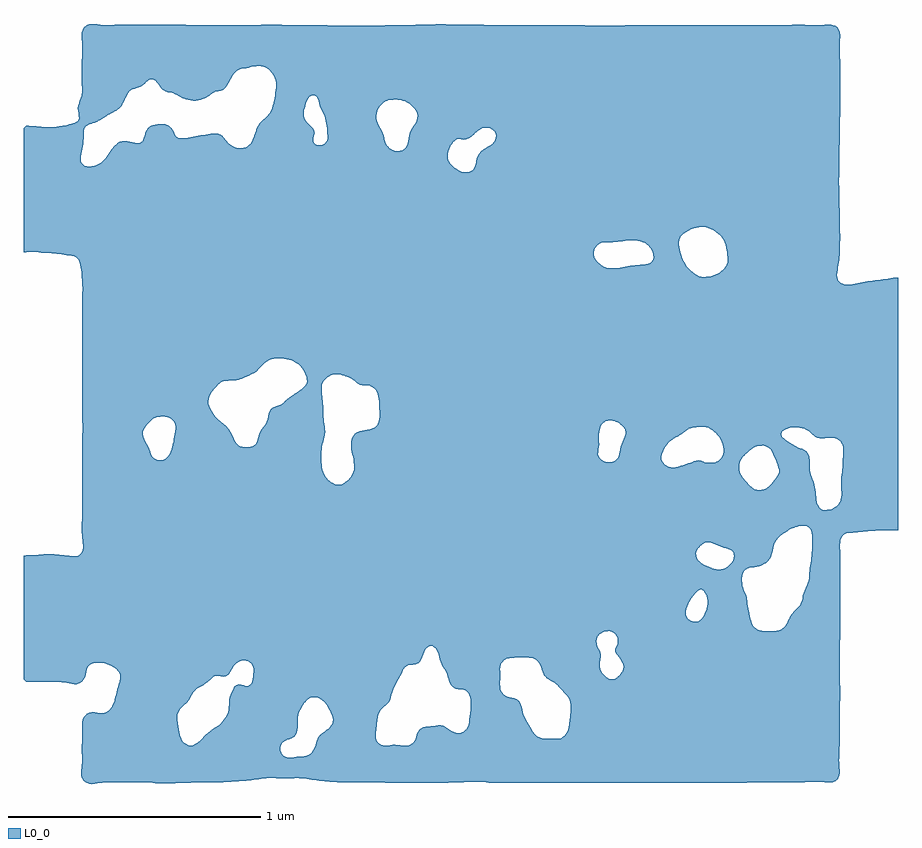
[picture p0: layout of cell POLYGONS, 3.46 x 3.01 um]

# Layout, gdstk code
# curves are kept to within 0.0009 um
import gdstk
lib = gdstk.Library(unit=1e-6, precision=1e-09)
def R(c, l, rs):  # rectangles x0, y0, x1, y1
    for r in rs: c.add(gdstk.rectangle(r[:2], r[2:], *l))
def P(c, l, *ps):  # polygons
    for p in ps: c.add(gdstk.Polygon(p, *l))
L0_0 = (0, 0)

polygons = lib.new_cell('POLYGONS')
R(polygons, L0_0, [(-1.43,-1.36,-1.2,-1.24), (-1.499,-0.94,-1.43,-0.83), (-1.43,-0.94,-1.2,-0.83), (-1.2,-0.94,-0.987,-0.83), (-0.987,-0.94,-0.811,-0.83), (-0.811,-0.94,-0.611,-0.83), (-0.611,-0.94,-0.49,-0.83), (-0.49,-0.94,-0.269,-0.83), (-0.269,-0.94,-0.01,-0.83), (-0.01,-0.94,0.286,-0.83), (-1.499,-0.83,-1.43,-0.7), (-1.43,-0.83,-1.2,-0.7), (-1.2,-0.83,-0.987,-0.7), (-0.987,-0.83,-0.811,-0.7), (-0.811,-0.83,-0.611,-0.7), (-0.611,-0.83,-0.49,-0.7), (-0.49,-0.83,-0.269,-0.7), (-0.269,-0.83,-0.01,-0.7), (-0.01,-0.83,0.286,-0.7), (0.286,-0.83,0.57,-0.7), (0.57,-0.83,0.82,-0.7), (-1.499,-0.7,-1.43,-0.59), (-1.43,-0.7,-1.2,-0.59), (-1.2,-0.7,-0.987,-0.59), (-0.987,-0.7,-0.811,-0.59), (-0.811,-0.7,-0.611,-0.59), (-0.611,-0.7,-0.49,-0.59), (-0.49,-0.7,-0.269,-0.59), (-0.269,-0.7,-0.01,-0.59), (-0.01,-0.7,0.286,-0.59), (0.286,-0.7,0.57,-0.59), (0.57,-0.7,0.82,-0.59), (-0.987,-0.59,-0.811,-0.21), (-0.811,-0.59,-0.611,-0.21), (-0.269,-0.59,-0.01,-0.2), (-0.01,-0.59,0.286,-0.2), (-0.269,-0.2,-0.01,0.6), (-0.01,-0.2,0.286,0.6), (-1.43,0.01,-1.2,0.6), (-1.2,0.6,-0.987,0.98), (-0.987,0.6,-0.811,0.98), (-0.811,0.6,-0.611,0.98), (-0.611,0.6,-0.49,0.98), (-0.49,0.6,-0.269,0.98)])
P(polygons, L0_0, [(-1.499,1.473),(-1.5,1.47),(-1.5,1.468),(-1.501,1.46),(-1.501,1.45),(-1.5,1.444),(-1.5,1.44),(-1.499,1.435)],
  [(-1.499,1.374),(-1.499,1.37),(-1.5,1.36),(-1.5,1.26),(-1.499,1.253)],
  [(-1.72,0.599),(-1.69,0.6),(-1.63,0.597),(-1.57,0.591),(-1.54,0.587),(-1.53,0.584),(-1.52,0.578),(-1.513,0.57),(-1.51,0.563),(-1.502,0.53),(-1.499,0.492),(-1.499,0.95),(-1.504,0.96),(-1.505,0.97),(-1.503,0.99),(-1.499,1.007),(-1.499,1.232),(-1.501,1.22),(-1.51,1.194),(-1.516,1.17),(-1.511,1.13),(-1.515,1.12),(-1.52,1.116),(-1.53,1.111),(-1.54,1.108),(-1.56,1.103),(-1.6,1.096),(-1.64,1.094),(-1.69,1.099),(-1.72,1.1),(-1.73,1.09),(-1.73,0.6)],
  [(-1.499,-0.453),(-1.499,-0.46),(-1.5,-0.47),(-1.5,-0.477),(-1.5,-0.48),(-1.501,-0.49),(-1.5,-0.5),(-1.5,-0.507),(-1.5,-0.51),(-1.499,-0.518)],
  [(-1.515,-0.6),(-1.52,-0.602),(-1.53,-0.603),(-1.63,-0.594),(-1.69,-0.599),(-1.73,-0.6),(-1.73,-1.09),(-1.72,-1.1),(-1.6,-1.099),(-1.56,-1.103),(-1.53,-1.109),(-1.52,-1.109),(-1.51,-1.106),(-1.499,-1.098),(-1.499,-0.586),(-1.501,-0.59),(-1.51,-0.598)],
  [(-1.5,-1.371),(-1.5,-1.38),(-1.499,-1.39),(-1.499,-1.4),(-1.499,-1.401),(-1.499,-1.341),(-1.5,-1.35),(-1.5,-1.357),(-1.5,-1.36),(-1.5,-1.37)],
  [(-1.499,-1.417),(-1.499,-1.42),(-1.5,-1.43),(-1.5,-1.431),(-1.501,-1.44),(-1.503,-1.45),(-1.503,-1.46),(-1.502,-1.47),(-1.5,-1.479),(-1.5,-1.48),(-1.499,-1.481)],
  [(-1.498,1.01),(-1.496,1.02),(-1.493,1.05),(-1.493,1.07),(-1.49,1.09),(-1.482,1.1),(-1.47,1.106),(-1.44,1.117),(-1.43,1.123),(-1.43,1.5),(-1.44,1.502),(-1.46,1.503),(-1.47,1.502),(-1.48,1.499),(-1.491,1.49),(-1.497,1.48),(-1.499,1.473),(-1.498,1.42),(-1.499,1.38),(-1.499,1.007)],
  [(-1.43,0.951),(-1.45,0.942),(-1.47,0.939),(-1.482,0.94),(-1.49,0.943),(-1.499,0.95),(-1.499,0.6),(-1.43,0.6)],
  [(-1.498,-0.01),(-1.497,-0.11),(-1.499,-0.23),(-1.498,-0.31),(-1.499,-0.52),(-1.495,-0.57),(-1.499,-0.59),(-1.43,-0.59),(-1.43,0.6),(-1.499,0.6),(-1.499,0.49),(-1.497,0.46),(-1.499,0.4)],
  [(-1.492,-1.09),(-1.487,-1.08),(-1.48,-1.049),(-1.476,-1.04),(-1.47,-1.034),(-1.46,-1.028),(-1.45,-1.025),(-1.43,-1.024),(-1.43,-0.94),(-1.499,-0.94),(-1.499,-1.098)],
  [(-1.498,-1.26),(-1.499,-1.36),(-1.43,-1.36),(-1.43,-1.225),(-1.45,-1.22),(-1.46,-1.22),(-1.47,-1.222),(-1.48,-1.227),(-1.492,-1.24),(-1.496,-1.25)],
  [(-1.45,-1.503),(-1.43,-1.5),(-1.43,-1.36),(-1.499,-1.36),(-1.499,-1.481),(-1.494,-1.49),(-1.49,-1.494),(-1.48,-1.5),(-1.47,-1.503),(-1.46,-1.504)],
  [(-1.42,1.129),(-1.36,1.163),(-1.352,1.17),(-1.343,1.18),(-1.32,1.226),(-1.307,1.24),(-1.3,1.244),(-1.27,1.254),(-1.26,1.26),(-1.24,1.279),(-1.23,1.285),(-1.22,1.285),(-1.21,1.28),(-1.2,1.269),(-1.2,1.5),(-1.37,1.5),(-1.38,1.499),(-1.43,1.5),(-1.43,1.123)],
  [(-1.41,0.968),(-1.42,0.958),(-1.43,0.951),(-1.43,0.6),(-1.2,0.6),(-1.2,1.107),(-1.22,1.103),(-1.23,1.098),(-1.24,1.089),(-1.246,1.08),(-1.25,1.07),(-1.255,1.05),(-1.26,1.04),(-1.27,1.033),(-1.28,1.032),(-1.32,1.039),(-1.34,1.04),(-1.35,1.037),(-1.36,1.031),(-1.37,1.022)],
  [(-1.259,-0.11),(-1.249,-0.09),(-1.232,-0.07),(-1.22,-0.059),(-1.21,-0.054),(-1.2,-0.051),(-1.2,0.01),(-1.43,0.01),(-1.43,-0.12),(-1.26,-0.12)],
  [(-1.2,-0.223),(-1.21,-0.219),(-1.222,-0.21),(-1.227,-0.2),(-1.233,-0.18),(-1.254,-0.14),(-1.258,-0.13),(-1.26,-0.12),(-1.43,-0.12),(-1.43,-0.59),(-1.2,-0.59)],
  [(-1.2,-0.94),(-1.43,-0.94),(-1.43,-1.024),(-1.42,-1.025),(-1.399,-1.03),(-1.377,-1.04),(-1.363,-1.05),(-1.354,-1.06),(-1.349,-1.07),(-1.348,-1.08),(-1.351,-1.1),(-1.361,-1.13),(-1.369,-1.17),(-1.372,-1.18),(-1.382,-1.2),(-1.39,-1.21),(-1.4,-1.218),(-1.41,-1.223),(-1.42,-1.225),(-1.43,-1.225),(-1.43,-1.24),(-1.2,-1.24)],
  [(-1.42,-1.5),(-1.38,-1.499),(-1.2,-1.501),(-1.2,-1.36),(-1.43,-1.36),(-1.43,-1.5)],
  [(-1.05,1.2),(-1.02,1.207),(-0.996,1.22),(-0.987,1.227),(-0.987,1.499),(-1.2,1.5),(-1.2,1.269),(-1.18,1.242),(-1.17,1.236),(-1.16,1.233),(-1.14,1.23),(-1.09,1.206),(-1.07,1.201)],
  [(-0.987,1.068),(-1.03,1.062),(-1.08,1.052),(-1.11,1.05),(-1.12,1.052),(-1.13,1.06),(-1.145,1.09),(-1.156,1.1),(-1.17,1.106),(-1.2,1.107),(-1.2,0.98),(-0.987,0.98)],
  [(-0.999,0.02),(-0.996,0.03),(-0.991,0.04),(-0.987,0.047),(-0.987,0.6),(-1.2,0.6),(-1.2,0.01),(-1,0.01)],
  [(-1.19,-0.05),(-1.18,-0.049),(-1.16,-0.052),(-1.14,-0.064),(-1.135,-0.07),(-1.13,-0.08),(-1.129,-0.1),(-1.137,-0.15),(-1.148,-0.19),(-1.153,-0.2),(-1.16,-0.21),(-1.172,-0.22),(-1.18,-0.223),(-1.19,-0.224),(-1.2,-0.223),(-1.2,-0.59),(-0.987,-0.59),(-0.987,-0.03),(-0.997,-0.01),(-1,0),(-1,0.01),(-1.2,0.01),(-1.2,-0.051)],
  [(-1.122,-1.23),(-1.118,-1.22),(-1.11,-1.207),(-1.076,-1.17),(-1.066,-1.15),(-1.059,-1.14),(-1.049,-1.13),(-1.01,-1.106),(-0.987,-1.086),(-0.987,-0.94),(-1.2,-0.94),(-1.2,-1.24),(-1.123,-1.24)],
  [(-0.987,-1.291),(-1.01,-1.31),(-1.03,-1.331),(-1.041,-1.34),(-1.06,-1.35),(-1.07,-1.352),(-1.08,-1.35),(-1.09,-1.345),(-1.1,-1.336),(-1.11,-1.318),(-1.117,-1.29),(-1.123,-1.25),(-1.123,-1.24),(-1.2,-1.24),(-1.2,-1.36),(-0.987,-1.36)],
  [(-1.15,-1.501),(-0.987,-1.497),(-0.987,-1.36),(-1.2,-1.36),(-1.2,-1.501)],
  [(-0.982,1.23),(-0.97,1.236),(-0.96,1.236),(-0.95,1.238),(-0.94,1.243),(-0.932,1.25),(-0.92,1.268),(-0.91,1.29),(-0.9,1.306),(-0.89,1.316),(-0.884,1.32),(-0.87,1.326),(-0.85,1.328),(-0.811,1.336),(-0.811,1.499),(-0.92,1.499),(-0.93,1.498),(-0.987,1.499),(-0.987,1.227)],
  [(-0.811,1.08),(-0.821,1.05),(-0.832,1.03),(-0.85,1.016),(-0.87,1.011),(-0.88,1.011),(-0.89,1.013),(-0.9,1.017),(-0.918,1.03),(-0.94,1.055),(-0.95,1.064),(-0.96,1.068),(-0.987,1.068),(-0.987,0.98),(-0.811,0.98)],
  [(-0.985,0.05),(-0.96,0.078),(-0.94,0.09),(-0.93,0.092),(-0.9,0.093),(-0.88,0.096),(-0.87,0.099),(-0.84,0.112),(-0.82,0.122),(-0.811,0.128),(-0.811,0.6),(-0.987,0.6),(-0.987,0.047)],
  [(-0.811,-0.158),(-0.82,-0.166),(-0.83,-0.17),(-0.86,-0.171),(-0.87,-0.169),(-0.88,-0.165),(-0.89,-0.156),(-0.894,-0.15),(-0.907,-0.12),(-0.918,-0.1),(-0.93,-0.087),(-0.972,-0.05),(-0.987,-0.03),(-0.987,-0.21),(-0.811,-0.21)],
  [(-0.811,-0.94),(-0.987,-0.94),(-0.987,-1.086),(-0.98,-1.08),(-0.97,-1.076),(-0.96,-1.076),(-0.94,-1.079),(-0.93,-1.077),(-0.919,-1.07),(-0.902,-1.04),(-0.894,-1.03),(-0.88,-1.02),(-0.87,-1.016),(-0.86,-1.015),(-0.85,-1.016),(-0.84,-1.019),(-0.827,-1.03),(-0.822,-1.04),(-0.82,-1.05),(-0.821,-1.08),(-0.826,-1.1),(-0.832,-1.11),(-0.84,-1.116),(-0.85,-1.117),(-0.87,-1.111),(-0.88,-1.11),(-0.89,-1.113),(-0.9,-1.125),(-0.907,-1.14),(-0.914,-1.16),(-0.916,-1.17),(-0.92,-1.22),(-0.924,-1.23),(-0.93,-1.24),(-0.955,-1.27),(-0.987,-1.291),(-0.987,-1.36),(-0.811,-1.36)],
  [(-0.98,-1.497),(-0.92,-1.496),(-0.85,-1.491),(-0.811,-1.486),(-0.811,-1.36),(-0.987,-1.36),(-0.987,-1.497)],
  [(-0.764,1.14),(-0.787,1.12),(-0.796,1.11),(-0.803,1.1),(-0.81,1.084),(-0.811,1.08),(-0.811,0.98),(-0.611,0.98),(-0.611,1.115),(-0.62,1.13),(-0.623,1.14),(-0.622,1.16),(-0.617,1.18),(-0.611,1.197),(-0.611,1.499),(-0.71,1.5),(-0.811,1.499),(-0.811,1.336),(-0.8,1.337),(-0.78,1.334),(-0.77,1.33),(-0.76,1.323),(-0.75,1.313),(-0.741,1.3),(-0.736,1.29),(-0.731,1.27),(-0.73,1.26),(-0.732,1.24),(-0.741,1.19),(-0.75,1.162),(-0.756,1.15)],
  [(-0.611,0.6),(-0.811,0.6),(-0.811,0.128),(-0.77,0.167),(-0.76,0.173),(-0.74,0.179),(-0.72,0.181),(-0.709,0.18),(-0.68,0.175),(-0.67,0.172),(-0.648,0.16),(-0.64,0.154),(-0.63,0.143),(-0.621,0.13),(-0.611,0.106)],
  [(-0.611,0.08),(-0.618,0.07),(-0.629,0.06),(-0.64,0.051),(-0.686,0.02),(-0.71,-0.001),(-0.74,-0.014),(-0.75,-0.02),(-0.76,-0.04),(-0.768,-0.07),(-0.773,-0.08),(-0.795,-0.11),(-0.799,-0.12),(-0.807,-0.15),(-0.811,-0.158),(-0.811,-0.21),(-0.611,-0.21)],
  [(-0.714,-1.35),(-0.707,-1.34),(-0.7,-1.334),(-0.69,-1.329),(-0.663,-1.32),(-0.654,-1.31),(-0.65,-1.3),(-0.646,-1.28),(-0.646,-1.25),(-0.644,-1.23),(-0.641,-1.22),(-0.625,-1.19),(-0.611,-1.173),(-0.611,-0.94),(-0.811,-0.94),(-0.811,-1.36),(-0.716,-1.36)],
  [(-0.81,-1.486),(-0.76,-1.48),(-0.71,-1.482),(-0.68,-1.482),(-0.65,-1.48),(-0.611,-1.483),(-0.611,-1.392),(-0.63,-1.396),(-0.68,-1.4),(-0.69,-1.398),(-0.7,-1.394),(-0.705,-1.39),(-0.71,-1.384),(-0.716,-1.37),(-0.716,-1.36),(-0.811,-1.36),(-0.811,-1.486)],
  [(-0.537,1.13),(-0.53,1.09),(-0.528,1.05),(-0.532,1.04),(-0.539,1.03),(-0.55,1.024),(-0.56,1.023),(-0.57,1.024),(-0.58,1.032),(-0.584,1.04),(-0.585,1.05),(-0.579,1.07),(-0.58,1.08),(-0.59,1.095),(-0.611,1.115),(-0.611,0.98),(-0.49,0.98),(-0.49,1.497),(-0.611,1.499),(-0.611,1.197),(-0.6,1.215),(-0.59,1.221),(-0.58,1.222),(-0.57,1.216),(-0.563,1.2),(-0.558,1.18),(-0.54,1.14)],
  [(-0.553,-0.2),(-0.55,-0.17),(-0.543,-0.14),(-0.538,-0.11),(-0.546,-0.04),(-0.546,-0.01),(-0.551,0.05),(-0.551,0.07),(-0.549,0.08),(-0.545,0.09),(-0.53,0.105),(-0.51,0.115),(-0.5,0.118),(-0.49,0.118),(-0.49,0.6),(-0.611,0.6),(-0.611,0.106),(-0.608,0.09),(-0.611,0.08),(-0.611,-0.21),(-0.553,-0.21)],
  [(-0.49,-0.32),(-0.5,-0.318),(-0.515,-0.31),(-0.53,-0.297),(-0.54,-0.282),(-0.545,-0.27),(-0.55,-0.25),(-0.553,-0.21),(-0.611,-0.21),(-0.611,-0.59),(-0.49,-0.59)],
  [(-0.564,-1.32),(-0.569,-1.33),(-0.58,-1.363),(-0.59,-1.38),(-0.6,-1.388),(-0.611,-1.392),(-0.611,-1.483),(-0.56,-1.491),(-0.49,-1.497),(-0.49,-0.94),(-0.611,-0.94),(-0.611,-1.173),(-0.6,-1.164),(-0.583,-1.16),(-0.57,-1.161),(-0.56,-1.164),(-0.55,-1.17),(-0.54,-1.18),(-0.526,-1.2),(-0.511,-1.23),(-0.506,-1.25),(-0.507,-1.26),(-0.51,-1.268),(-0.519,-1.28),(-0.556,-1.31)],
  [(-0.334,1.15),(-0.327,1.17),(-0.32,1.18),(-0.31,1.19),(-0.3,1.197),(-0.29,1.201),(-0.269,1.204),(-0.269,1.498),(-0.49,1.497),(-0.49,1.14),(-0.336,1.14)],
  [(-0.269,1.003),(-0.282,1.01),(-0.291,1.02),(-0.297,1.03),(-0.301,1.04),(-0.309,1.07),(-0.325,1.1),(-0.333,1.12),(-0.336,1.14),(-0.49,1.14),(-0.49,0.98),(-0.269,0.98)],
  [(-0.425,-0.22),(-0.422,-0.25),(-0.423,-0.26),(-0.43,-0.28),(-0.445,-0.3),(-0.46,-0.313),(-0.47,-0.318),(-0.48,-0.32),(-0.49,-0.32),(-0.49,-0.59),(-0.269,-0.59),(-0.269,0.6),(-0.49,0.6),(-0.49,0.118),(-0.48,0.117),(-0.45,0.108),(-0.433,0.1),(-0.42,0.091),(-0.41,0.082),(-0.4,0.076),(-0.39,0.073),(-0.37,0.073),(-0.36,0.071),(-0.35,0.066),(-0.34,0.058),(-0.334,0.05),(-0.329,0.04),(-0.324,0.01),(-0.322,-0.05),(-0.325,-0.07),(-0.33,-0.082),(-0.337,-0.09),(-0.357,-0.1),(-0.4,-0.108),(-0.41,-0.112),(-0.421,-0.12),(-0.43,-0.134),(-0.434,-0.15),(-0.435,-0.17),(-0.434,-0.18)],
  [(-0.337,-1.3),(-0.33,-1.238),(-0.328,-1.23),(-0.324,-1.22),(-0.317,-1.21),(-0.286,-1.18),(-0.28,-1.17),(-0.273,-1.14),(-0.269,-1.13),(-0.269,-0.94),(-0.49,-0.94),(-0.49,-1.31),(-0.337,-1.31)],
  [(-0.269,-1.349),(-0.29,-1.352),(-0.3,-1.352),(-0.31,-1.351),(-0.32,-1.347),(-0.329,-1.34),(-0.335,-1.33),(-0.337,-1.32),(-0.337,-1.31),(-0.49,-1.31),(-0.49,-1.497),(-0.269,-1.499)],
  [(-0.052,0.99),(-0.05,1),(-0.042,1.02),(-0.03,1.037),(-0.02,1.045),(-0.01,1.048),(-0.01,1.501),(-0.1,1.502),(-0.269,1.498),(-0.269,1.204),(-0.26,1.205),(-0.24,1.203),(-0.22,1.197),(-0.21,1.192),(-0.194,1.18),(-0.185,1.17),(-0.178,1.16),(-0.174,1.15),(-0.172,1.14),(-0.175,1.12),(-0.193,1.09),(-0.203,1.07),(-0.21,1.03),(-0.214,1.02),(-0.22,1.012),(-0.23,1.004),(-0.248,1),(-0.26,1),(-0.269,1.003),(-0.269,0.98),(-0.053,0.98)],
  [(-0.01,0.924),(-0.03,0.938),(-0.042,0.95),(-0.049,0.96),(-0.052,0.97),(-0.053,0.98),(-0.269,0.98),(-0.269,0.6),(-0.01,0.6)],
  [(-0.033,-1.12),(-0.02,-1.127),(-0.01,-1.129),(-0.01,-0.94),(-0.269,-0.94),(-0.269,-1.13),(-0.265,-1.12),(-0.242,-1.08),(-0.228,-1.05),(-0.219,-1.04),(-0.21,-1.035),(-0.179,-1.03),(-0.17,-1.026),(-0.157,-1.01),(-0.146,-0.98),(-0.14,-0.968),(-0.13,-0.96),(-0.12,-0.957),(-0.11,-0.959),(-0.1,-0.967),(-0.092,-0.98),(-0.08,-1.023),(-0.072,-1.04),(-0.059,-1.06),(-0.046,-1.1),(-0.04,-1.112)],
  [(-0.19,-1.499),(-0.01,-1.498),(-0.01,-1.304),(-0.02,-1.302),(-0.03,-1.298),(-0.07,-1.274),(-0.08,-1.271),(-0.09,-1.271),(-0.11,-1.275),(-0.14,-1.278),(-0.15,-1.28),(-0.16,-1.285),(-0.165,-1.29),(-0.171,-1.3),(-0.182,-1.33),(-0.188,-1.34),(-0.2,-1.349),(-0.21,-1.352),(-0.22,-1.353),(-0.269,-1.349),(-0.269,-1.499)],
  [(0.286,1.499),(0.1,1.499),(0.04,1.501),(-0.01,1.501),(-0.01,1.048),(0.01,1.046),(0.02,1.047),(0.028,1.05),(0.04,1.057),(0.066,1.08),(0.08,1.089),(0.09,1.092),(0.1,1.093),(0.116,1.09),(0.13,1.081),(0.137,1.07),(0.139,1.06),(0.138,1.05),(0.133,1.04),(0.125,1.03),(0.08,1),(0.072,0.99),(0.066,0.98),(0.056,0.94),(0.05,0.929),(0.039,0.92),(0.03,0.917),(0.02,0.916),(0,0.919),(-0.01,0.924),(-0.01,0.6),(0.286,0.6)],
  [(0.154,-1.1),(0.155,-1.04),(0.158,-1.03),(0.17,-1.015),(0.18,-1.009),(0.19,-1.006),(0.22,-1.003),(0.25,-1.002),(0.28,-1.005),(0.286,-1.007),(0.286,-0.94),(-0.01,-0.94),(-0.01,-1.11),(0.154,-1.11)],
  [(0.01,-1.498),(0.286,-1.5),(0.286,-1.3),(0.279,-1.29),(0.247,-1.23),(0.237,-1.19),(0.23,-1.177),(0.22,-1.169),(0.2,-1.162),(0.188,-1.16),(0.17,-1.151),(0.16,-1.139),(0.156,-1.13),(0.154,-1.11),(-0.01,-1.11),(-0.01,-1.129),(0,-1.129),(0.01,-1.131),(0.02,-1.135),(0.03,-1.145),(0.037,-1.16),(0.039,-1.18),(0.039,-1.2),(0.03,-1.27),(0.026,-1.28),(0.02,-1.289),(0.01,-1.298),(0,-1.302),(-0.01,-1.304),(-0.01,-1.498)],
  [(0.528,0.61),(0.533,0.62),(0.542,0.63),(0.56,0.639),(0.57,0.64),(0.57,1.497),(0.5,1.497),(0.43,1.499),(0.286,1.499),(0.286,0.6),(0.525,0.6)],
  [(0.543,-0.19),(0.547,-0.16),(0.546,-0.12),(0.548,-0.1),(0.551,-0.09),(0.557,-0.08),(0.57,-0.069),(0.57,0.54),(0.552,0.55),(0.541,0.56),(0.528,0.58),(0.525,0.6),(0.286,0.6),(0.286,-0.2),(0.542,-0.2)],
  [(0.57,-0.229),(0.56,-0.225),(0.552,-0.22),(0.55,-0.218),(0.545,-0.21),(0.542,-0.2),(0.286,-0.2),(0.286,-0.59),(0.57,-0.59)],
  [(0.538,-0.93),(0.54,-0.923),(0.542,-0.92),(0.549,-0.91),(0.55,-0.909),(0.56,-0.903),(0.57,-0.9),(0.57,-0.83),(0.286,-0.83),(0.286,-0.94),(0.536,-0.94)],
  [(0.39,-1.5),(0.57,-1.499),(0.57,-1.078),(0.56,-1.067),(0.55,-1.05),(0.548,-1.04),(0.548,-1.03),(0.551,-1.01),(0.552,-0.99),(0.55,-0.98),(0.54,-0.96),(0.537,-0.95),(0.536,-0.94),(0.286,-0.94),(0.286,-1.007),(0.3,-1.014),(0.31,-1.026),(0.317,-1.04),(0.323,-1.06),(0.33,-1.075),(0.34,-1.085),(0.36,-1.097),(0.38,-1.112),(0.416,-1.15),(0.43,-1.17),(0.435,-1.19),(0.435,-1.21),(0.431,-1.25),(0.424,-1.29),(0.42,-1.3),(0.41,-1.314),(0.4,-1.321),(0.39,-1.324),(0.34,-1.325),(0.32,-1.323),(0.31,-1.32),(0.3,-1.315),(0.29,-1.306),(0.286,-1.3),(0.286,-1.5)],
  [(0.737,0.63),(0.747,0.62),(0.754,0.61),(0.761,0.59),(0.762,0.58),(0.76,0.57),(0.75,0.558),(0.74,0.554),(0.72,0.55),(0.69,0.549),(0.63,0.538),(0.61,0.536),(0.59,0.536),(0.58,0.537),(0.57,0.54),(0.57,-0.069),(0.58,-0.066),(0.59,-0.065),(0.6,-0.066),(0.62,-0.073),(0.63,-0.079),(0.642,-0.09),(0.649,-0.1),(0.652,-0.11),(0.651,-0.12),(0.639,-0.15),(0.633,-0.17),(0.624,-0.21),(0.62,-0.216),(0.617,-0.22),(0.61,-0.225),(0.597,-0.23),(0.58,-0.231),(0.57,-0.229),(0.57,-0.59),(0.82,-0.59),(0.82,-0.248),(0.81,-0.243),(0.8,-0.233),(0.793,-0.22),(0.792,-0.21),(0.794,-0.2),(0.798,-0.19),(0.81,-0.168),(0.82,-0.154),(0.82,1.499),(0.57,1.497),(0.57,0.64),(0.601,0.64),(0.67,0.648),(0.69,0.648),(0.71,0.644),(0.721,0.64)],
  [(0.58,-0.899),(0.59,-0.9),(0.6,-0.903),(0.61,-0.909),(0.617,-0.92),(0.62,-0.928),(0.621,-0.94),(0.62,-0.95),(0.61,-0.97),(0.61,-0.98),(0.616,-0.99),(0.632,-1.01),(0.64,-1.027),(0.643,-1.04),(0.64,-1.056),(0.631,-1.07),(0.62,-1.081),(0.61,-1.087),(0.6,-1.089),(0.59,-1.089),(0.58,-1.085),(0.57,-1.078),(0.57,-1.499),(0.82,-1.5),(0.82,-0.83),(0.57,-0.83),(0.57,-0.9)],
  [(0.863,0.65),(0.868,0.66),(0.876,0.67),(0.89,0.68),(0.92,0.694),(0.94,0.699),(0.96,0.7),(0.97,0.698),(0.99,0.691),(0.99,1.498),(0.82,1.499),(0.82,0.64),(0.861,0.64)],
  [(0.824,-0.15),(0.84,-0.138),(0.86,-0.128),(0.872,-0.12),(0.9,-0.099),(0.92,-0.093),(0.94,-0.091),(0.96,-0.091),(0.97,-0.092),(0.98,-0.095),(0.99,-0.1),(0.99,0.505),(0.96,0.501),(0.95,0.502),(0.94,0.505),(0.92,0.517),(0.896,0.54),(0.883,0.56),(0.874,0.58),(0.865,0.61),(0.861,0.63),(0.861,0.64),(0.82,0.64),(0.82,-0.154)],
  [(0.84,-0.252),(0.83,-0.251),(0.82,-0.248),(0.82,-0.59),(0.929,-0.59),(0.932,-0.58),(0.939,-0.57),(0.95,-0.559),(0.96,-0.552),(0.97,-0.548),(0.98,-0.547),(0.99,-0.55),(0.99,-0.233),(0.97,-0.232),(0.94,-0.224),(0.92,-0.228),(0.89,-0.239),(0.85,-0.251)],
  [(0.99,-0.649),(0.96,-0.636),(0.95,-0.63),(0.94,-0.621),(0.933,-0.61),(0.93,-0.601),(0.929,-0.59),(0.82,-0.59),(0.82,-0.7),(0.99,-0.7)],
  [(0.83,-1.5),(0.99,-1.499),(0.99,-0.7),(0.82,-0.7),(0.82,-0.83),(0.89,-0.83),(0.89,-0.82),(0.892,-0.81),(0.9,-0.789),(0.91,-0.771),(0.92,-0.757),(0.93,-0.745),(0.94,-0.737),(0.95,-0.734),(0.96,-0.74),(0.972,-0.76),(0.975,-0.77),(0.976,-0.78),(0.976,-0.79),(0.973,-0.81),(0.965,-0.83),(0.96,-0.84),(0.95,-0.853),(0.94,-0.86),(0.93,-0.863),(0.92,-0.862),(0.91,-0.859),(0.897,-0.85),(0.891,-0.84),(0.89,-0.83),(0.82,-0.83),(0.82,-1.5)],
  [(1.021,-0.13),(1.032,-0.15),(1.038,-0.17),(1.039,-0.18),(1.038,-0.2),(1.03,-0.216),(1.02,-0.225),(1,-0.232),(0.99,-0.233),(0.99,-0.25),(1.1,-0.25),(1.103,-0.23),(1.115,-0.21),(1.124,-0.2),(1.15,-0.178),(1.17,-0.167),(1.17,1.499),(0.99,1.498),(0.99,0.691),(1.01,0.68),(1.023,0.67),(1.03,0.663),(1.039,0.65),(1.044,0.64),(1.047,0.63),(1.056,0.58),(1.055,0.56),(1.052,0.55),(1.04,0.533),(1.02,0.517),(1.01,0.512),(0.99,0.505),(0.99,-0.1),(1.01,-0.117)],
  [(1.111,-0.69),(1.112,-0.68),(1.115,-0.67),(1.12,-0.66),(1.13,-0.652),(1.15,-0.647),(1.17,-0.645),(1.17,-0.34),(1.16,-0.337),(1.15,-0.33),(1.139,-0.32),(1.12,-0.299),(1.106,-0.28),(1.1,-0.261),(1.1,-0.25),(0.99,-0.25),(0.99,-0.55),(1,-0.553),(1.03,-0.566),(1.06,-0.575),(1.071,-0.58),(1.079,-0.59),(1.081,-0.6),(1.08,-0.611),(1.077,-0.62),(1.07,-0.63),(1.05,-0.648),(1.04,-0.653),(1.02,-0.656),(1,-0.653),(0.99,-0.649),(0.99,-0.7),(1.111,-0.7)],
  [(1,-1.499),(1.17,-1.498),(1.17,-0.891),(1.16,-0.884),(1.15,-0.868),(1.138,-0.82),(1.129,-0.76),(1.119,-0.74),(1.113,-0.72),(1.111,-0.7),(0.99,-0.7),(0.99,-1.499)],
  [(1.27,-0.111),(1.285,-0.1),(1.31,-0.093),(1.33,-0.093),(1.35,-0.096),(1.36,-0.099),(1.378,-0.109),(1.378,1.499),(1.36,1.5),(1.17,1.499),(1.17,-0.12),(1.267,-0.12)],
  [(1.19,-0.165),(1.2,-0.166),(1.212,-0.17),(1.22,-0.175),(1.23,-0.187),(1.253,-0.24),(1.259,-0.26),(1.259,-0.27),(1.256,-0.28),(1.25,-0.29),(1.23,-0.316),(1.22,-0.326),(1.21,-0.333),(1.191,-0.34),(1.18,-0.341),(1.17,-0.34),(1.17,-0.645),(1.186,-0.64),(1.205,-0.63),(1.21,-0.626),(1.22,-0.614),(1.228,-0.6),(1.237,-0.56),(1.242,-0.55),(1.25,-0.537),(1.256,-0.53),(1.266,-0.52),(1.28,-0.509),(1.3,-0.497),(1.32,-0.489),(1.34,-0.483),(1.36,-0.482),(1.37,-0.485),(1.378,-0.49),(1.378,-0.215),(1.37,-0.194),(1.36,-0.184),(1.35,-0.178),(1.328,-0.17),(1.28,-0.14),(1.27,-0.13),(1.267,-0.12),(1.17,-0.12),(1.17,-0.167),(1.18,-0.165)],
  [(1.18,-1.498),(1.378,-1.496),(1.378,-0.68),(1.375,-0.7),(1.356,-0.75),(1.35,-0.778),(1.345,-0.79),(1.34,-0.799),(1.31,-0.83),(1.303,-0.84),(1.29,-0.867),(1.282,-0.88),(1.27,-0.891),(1.25,-0.898),(1.24,-0.899),(1.21,-0.9),(1.19,-0.898),(1.17,-0.891),(1.17,-1.498)],
  [(1.499,0.481),(1.491,0.49),(1.488,0.5),(1.487,0.51),(1.495,0.56),(1.499,0.61),(1.499,0.72),(1.495,0.87),(1.496,0.98),(1.499,1.08),(1.499,1.38),(1.498,1.39),(1.499,1.47),(1.49,1.488),(1.48,1.496),(1.47,1.499),(1.46,1.501),(1.45,1.501),(1.43,1.498),(1.378,1.499),(1.378,-0.109),(1.4,-0.129),(1.41,-0.134),(1.42,-0.137),(1.47,-0.134),(1.49,-0.139),(1.499,-0.146)],
  [(1.46,-1.498),(1.47,-1.497),(1.485,-1.49),(1.493,-1.48),(1.497,-1.47),(1.498,-1.46),(1.495,-1.41),(1.498,-1.35),(1.499,-1.26),(1.499,-0.39),(1.492,-0.4),(1.479,-0.41),(1.46,-0.418),(1.44,-0.42),(1.43,-0.418),(1.42,-0.412),(1.411,-0.4),(1.406,-0.38),(1.402,-0.34),(1.398,-0.32),(1.381,-0.27),(1.379,-0.25),(1.378,-0.215),(1.378,-0.49),(1.385,-0.5),(1.39,-0.52),(1.388,-0.6),(1.38,-0.649),(1.378,-0.67),(1.378,-1.496),(1.41,-1.495)],
  [(1.499,1.44),(1.5,1.449),(1.5,1.45),(1.5,1.46),(1.5,1.461),(1.499,1.467),(1.499,1.44)],
  [(1.499,1.12),(1.499,1.13),(1.5,1.14),(1.5,1.36),(1.499,1.37),(1.499,1.374)],
  [(1.499,0.63),(1.499,0.64),(1.5,0.65),(1.5,0.66),(1.5,0.67),(1.499,0.68),(1.499,0.69),(1.499,0.7),(1.499,0.622)],
  [(1.5,-0.55),(1.501,-0.54),(1.51,-0.521),(1.52,-0.513),(1.529,-0.51),(1.62,-0.502),(1.68,-0.5),(1.73,-0.5),(1.73,0.5),(1.71,0.499),(1.66,0.491),(1.61,0.485),(1.57,0.477),(1.53,0.471),(1.52,0.472),(1.51,0.475),(1.499,0.481),(1.499,-0.146),(1.503,-0.15),(1.509,-0.16),(1.512,-0.17),(1.513,-0.18),(1.51,-0.25),(1.504,-0.3),(1.504,-0.33),(1.506,-0.36),(1.503,-0.38),(1.499,-0.39),(1.499,-0.557)],
  [(1.499,-1.2),(1.499,-1.18),(1.5,-1.17),(1.5,-1.12),(1.499,-1.11),(1.499,-0.94),(1.5,-0.93),(1.5,-0.66),(1.501,-0.65),(1.501,-0.6),(1.5,-0.59),(1.5,-0.58),(1.499,-0.572)])

lib.write_gds('POLYGONS.gds')
